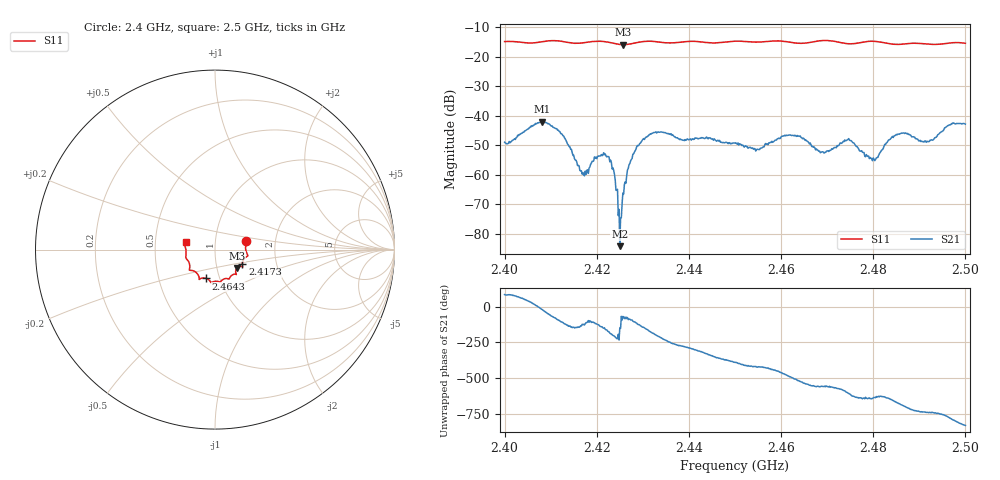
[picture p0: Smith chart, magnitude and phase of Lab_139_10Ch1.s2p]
# Hz S RI R 50
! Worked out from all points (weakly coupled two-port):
!   601 points, 2.4 GHz to 2.5 GHz, reference 50 ohm
!   highest |S21| = -42.06 dB at 2.4082 GHz (marker M1); lowest = -84.2 dB at 2.425 GHz (marker M2)
!   lowest |S11| = -15.9 dB at 2.4257 GHz (marker M3), VSWR 1.38, Z = 62.5 - j13.1 ohm
!   |S11| at or under -10 dB: start of sweep to end of sweep
!   S12 and S22 are empty: the file has one direction only
!   S11 on the Smith chart (normalised r, x): 2.4 GHz: 1.41, +0.14; 2.4173 GHz: 1.34, -0.23; 2.4643 GHz: 0.86, -0.28; 2.5 GHz: 0.72, +0.06
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2.4e9  0.1734 0.0494  0.000391 0.00354  0 0  0 0
2.408167e9  0.1785 -0.0219  0.00734 -0.00289  0 0  0 0
2.4125e9  0.1772 -0.0384  -0.00161 -0.00456  0 0  0 0
2.416667e9  0.1531 -0.0745  -0.000842 -0.000808  0 0  0 0
2.417333e9  0.1524 -0.082  -0.000607 -0.00074  0 0  0 0
2.422167e9  0.1506 -0.0946  -0.00192 -0.000565  0 0  0 0
2.4235e9  0.1413 -0.0939  -0.00121 0.00049  0 0  0 0
2.425e9  0.1279 -0.098  -5.33e-05 -3.08e-05  0 0  0 0
2.425667e9  0.1229 -0.1022  0.000172 -0.00046  0 0  0 0
2.427e9  0.1164 -0.1142  1.97e-05 -0.00148  0 0  0 0
2.428333e9  0.1152 -0.1263  -0.00083 -0.00241  0 0  0 0
2.433333e9  0.1129 -0.1368  -0.00464 0.0026  0 0  0 0
2.45e9  0.0292 -0.1808  0.00294 -0.00177  0 0  0 0
2.454833e9  0.00342 -0.1763  0.00114 -0.00246  0 0  0 0
2.464333e9  -0.05 -0.1607  -0.00418 -0.000973  0 0  0 0
2.466667e9  -0.0759 -0.1596  -0.0029 0.000748  0 0  0 0
2.469167e9  -0.0877 -0.1665  -0.00227 0.000817  0 0  0 0
2.474833e9  -0.1047 -0.128  -0.0012 0.00366  0 0  0 0
2.480167e9  -0.1431 -0.1128  0.000193 0.00182  0 0  0 0
2.483333e9  -0.1404 -0.09  0.00087 0.00377  0 0  0 0
2.492e9  -0.1612 -0.0256  0.00335 -0.00141  0 0  0 0
2.5e9  -0.1633 0.042  -0.00272 -0.00667  0 0  0 0
